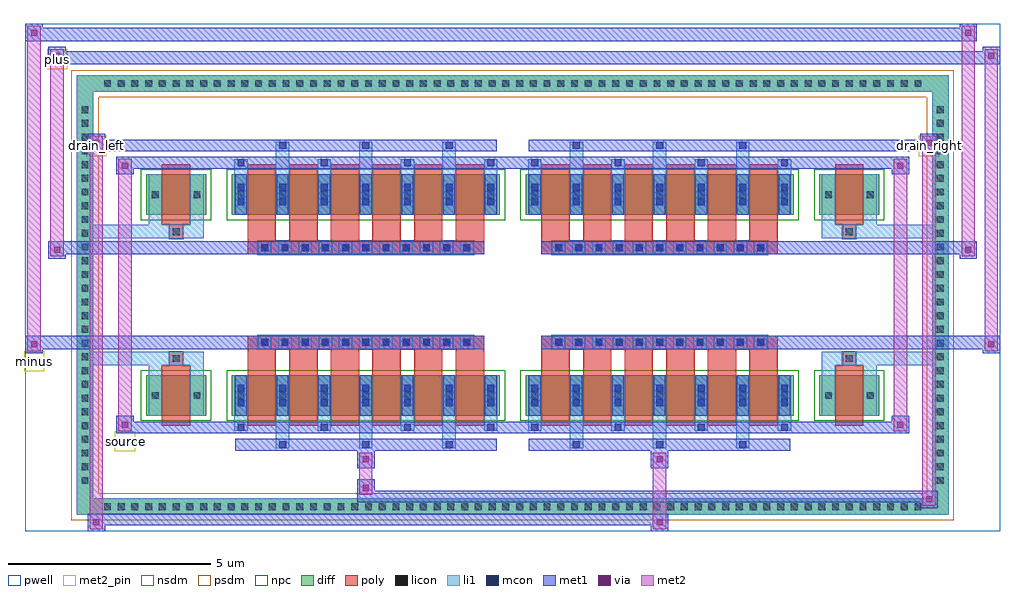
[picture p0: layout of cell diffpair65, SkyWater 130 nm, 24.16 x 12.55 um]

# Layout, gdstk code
import gdstk
lib = gdstk.Library(unit=1e-6, precision=5e-09)
def R(c, l, rs):  # rectangles x0, y0, x1, y1
    for r in rs: c.add(gdstk.rectangle(r[:2], r[2:], *l))
def A(c, l, x, y, w, h, nx, ny, dx, dy):  # array of equal rectangles
    R(c, l, [(x+i*dx, y+j*dy, x+i*dx+w, y+j*dy+h) for i in range(nx) for j in range(ny)])
def P(c, l, *ps):  # polygons
    for p in ps: c.add(gdstk.Polygon(p, *l))
pwell = (64, 44)
diff = (65, 20)
poly = (66, 20)
licon = (66, 44)
li1 = (67, 20)
mcon = (67, 44)
met1 = (68, 20)
via = (68, 44)
met2_pin = (69, 16)
met2 = (69, 20)
nsdm = (93, 44)
psdm = (94, 20)
npc = (95, 20)

diffpair65 = lib.new_cell('diffpair65')
R(diffpair65, pwell, [(-12.06,-5.84,12.06,6.71), (-9.38,-4.03,-0.01,-0.805), (0.01,-4.03,9.38,-0.805), (-9.38,0.805,-0.01,4.03), (0.01,0.805,9.38,4.03)])
A(diffpair65, diff, -10.235, -5.44, 0.41, 0.41, 60, 2, 0.34, 10.47)
A(diffpair65, diff, -10.79, -4.795, 0.41, 0.41, 1, 28, 0, 0.34)
A(diffpair65, diff, 10.38, -4.795, 0.41, 0.41, 1, 28, 0, 0.34)
R(diffpair65, diff, [(-10.235,-5.44,10.235,-5.03), (-10.79,-4.795,-10.38,4.795), (10.38,-4.795,10.79,4.795), (-9.07,-2.985,-7.59,-1.985), (-6.95,-2.985,-0.32,-1.985), (0.32,-2.985,6.95,-1.985), (7.59,-2.985,9.07,-1.985), (-9.07,1.985,-7.59,2.985), (-6.95,1.985,-0.32,2.985), (0.32,1.985,6.95,2.985), (7.59,1.985,9.07,2.985), (-10.235,5.03,10.235,5.44)])
P(diffpair65, diff, [(10.79,5.44),(-10.79,5.44),(-10.79,-5.03),(-10.38,-5.03),(-10.38,5.03),(10.38,5.03),(10.38,-5.03),(-10.38,-5.03),(-10.79,-5.03),(-10.79,-5.44),(10.79,-5.44)])
A(diffpair65, poly, -6.56, -3.235, 0.7, 1.5, 6, 2, 1.03, 4.97)
A(diffpair65, poly, 0.71, -3.235, 0.7, 1.5, 6, 2, 1.03, 4.97)
A(diffpair65, poly, -6.56, -1.735, 0.7, 0.4, 6, 2, 1.03, 3.07)
A(diffpair65, poly, 0.71, -1.735, 0.7, 0.4, 6, 2, 1.03, 3.07)
A(diffpair65, poly, -6.3, -1.335, 0.33, 0.33, 11, 2, 0.5, 2.34)
A(diffpair65, poly, 0.97, -1.335, 0.33, 0.33, 11, 2, 0.5, 2.34)
R(diffpair65, poly, [(-8.68,-3.235,-7.98,-1.735), (7.98,-3.235,8.68,-1.735), (-8.495,-1.735,-8.165,-1.405), (-8.495,-1.735,-8.165,-1.405), (8.165,-1.735,8.495,-1.405), (8.165,-1.735,8.495,-1.405), (-6.56,-1.335,-0.71,-1.005), (0.71,-1.335,6.56,-1.005), (-6.56,1.005,-0.71,1.335), (0.71,1.005,6.56,1.335), (-8.495,1.405,-8.165,1.735), (-8.495,1.405,-8.165,1.735), (8.165,1.405,8.495,1.735), (8.165,1.405,8.495,1.735), (-8.68,1.735,-7.98,3.235), (7.98,1.735,8.68,3.235)])
A(diffpair65, licon, -10.115, -5.32, 0.17, 0.17, 60, 2, 0.34, 10.47)
A(diffpair65, licon, -10.67, -4.675, 0.17, 0.17, 1, 28, 0, 0.34)
A(diffpair65, licon, 10.5, -4.675, 0.17, 0.17, 1, 28, 0, 0.34)
A(diffpair65, licon, -6.81, -2.57, 0.17, 0.17, 7, 2, 1.03, 4.97)
A(diffpair65, licon, 0.46, -2.57, 0.17, 0.17, 7, 2, 1.03, 4.97)
A(diffpair65, licon, -6.22, -1.255, 0.17, 0.17, 11, 2, 0.5, 2.34)
A(diffpair65, licon, 1.05, -1.255, 0.17, 0.17, 11, 2, 0.5, 2.34)
R(diffpair65, licon, [(-8.93,-2.57,-8.76,-2.4), (-7.9,-2.57,-7.73,-2.4), (7.73,-2.57,7.9,-2.4), (8.76,-2.57,8.93,-2.4), (-8.415,-1.655,-8.245,-1.485), (8.245,-1.655,8.415,-1.485), (-8.415,1.485,-8.245,1.655), (8.245,1.485,8.415,1.655), (-8.93,2.4,-8.76,2.57), (-7.9,2.4,-7.73,2.57), (7.73,2.4,7.9,2.57), (8.76,2.4,8.93,2.57)])
A(diffpair65, li1, -10.195, -5.4, 0.33, 0.33, 60, 2, 0.34, 10.47)
A(diffpair65, li1, -10.75, -4.755, 0.33, 0.33, 1, 28, 0, 0.34)
A(diffpair65, li1, 10.42, -4.755, 0.33, 0.33, 1, 28, 0, 0.34)
A(diffpair65, li1, -5.86, -3.79, 0.33, 0.805, 3, 2, 2.06, 6.775)
A(diffpair65, li1, -5.78, -3.79, 0.17, 0.17, 3, 2, 2.06, 7.41)
A(diffpair65, li1, 1.41, -3.79, 0.33, 0.805, 3, 2, 2.06, 6.775)
A(diffpair65, li1, 1.49, -3.79, 0.17, 0.17, 3, 2, 2.06, 7.41)
A(diffpair65, li1, -6.89, -3.36, 0.33, 0.375, 4, 2, 2.06, 6.345)
A(diffpair65, li1, -6.81, -3.36, 0.17, 0.17, 4, 2, 2.06, 6.55)
A(diffpair65, li1, 0.38, -3.36, 0.33, 0.375, 4, 2, 2.06, 6.345)
A(diffpair65, li1, 0.46, -3.36, 0.17, 0.17, 4, 2, 2.06, 6.55)
A(diffpair65, li1, -6.89, -2.985, 0.33, 1, 7, 2, 1.03, 4.97)
A(diffpair65, li1, 0.38, -2.985, 0.33, 1, 7, 2, 1.03, 4.97)
A(diffpair65, li1, -6.81, -2.75, 0.17, 0.17, 7, 2, 1.03, 0.36)
A(diffpair65, li1, -6.81, -2.75, 0.17, 0.53, 7, 2, 1.03, 4.97)
A(diffpair65, li1, 0.46, -2.75, 0.17, 0.17, 7, 2, 1.03, 0.36)
A(diffpair65, li1, 0.46, -2.75, 0.17, 0.53, 7, 2, 1.03, 4.97)
A(diffpair65, li1, -6.89, -2.65, 0.33, 0.33, 7, 2, 1.03, 4.97)
A(diffpair65, li1, 0.38, -2.65, 0.33, 0.33, 7, 2, 1.03, 4.97)
A(diffpair65, li1, -6.3, -1.335, 0.33, 0.33, 11, 2, 0.5, 2.34)
A(diffpair65, li1, 0.97, -1.335, 0.33, 0.33, 11, 2, 0.5, 2.34)
A(diffpair65, li1, -6.81, 2.22, 0.17, 0.17, 7, 2, 1.03, 0.36)
A(diffpair65, li1, 0.46, 2.22, 0.17, 0.17, 7, 2, 1.03, 0.36)
R(diffpair65, li1, [(-10.79,-5.44,-10.38,-5.03), (-10.79,-5.44,-10.38,-5.03), (-10.38,-5.44,10.38,-5.03), (10.38,-5.44,10.79,-5.03), (10.38,-5.44,10.79,-5.03), (-10.79,-5.03,-10.38,5.03), (10.38,-5.03,10.79,5.03), (-9.01,-2.985,-8.68,-1.985), (-7.98,-2.985,-7.65,-1.985), (7.65,-2.985,7.98,-1.985), (8.68,-2.985,9.01,-1.985), (-9.01,-2.65,-8.68,-2.32), (-7.98,-2.65,-7.65,-2.32), (7.65,-2.65,7.98,-2.32), (8.68,-2.65,9.01,-2.32), (-9.01,-1.985,-8.68,-1.405), (-7.98,-1.985,-7.65,-1.405), (7.65,-1.985,7.98,-1.405), (8.68,-1.985,9.01,-1.405), (-10.79,-1.735,-8.495,-1.405), (-9.01,-1.735,-8.495,-1.405), (-8.495,-1.735,-8.165,-1.405), (-8.165,-1.735,-7.65,-1.405), (7.65,-1.735,8.165,-1.405), (8.165,-1.735,8.495,-1.405), (8.165,-1.735,10.79,-1.405), (8.495,-1.735,9.01,-1.405), (-10.79,1.405,-8.495,1.735), (-9.01,1.405,-8.495,1.735), (-9.01,1.405,-8.68,1.985), (-8.495,1.405,-8.165,1.735), (-8.165,1.405,-7.65,1.735), (-7.98,1.405,-7.65,1.985), (7.65,1.405,8.165,1.735), (7.65,1.405,7.98,1.985), (8.165,1.405,8.495,1.735), (8.165,1.405,10.79,1.735), (8.495,1.405,9.01,1.735), (8.68,1.405,9.01,1.985), (-9.01,1.985,-8.68,2.985), (-7.98,1.985,-7.65,2.985), (7.65,1.985,7.98,2.985), (8.68,1.985,9.01,2.985), (-9.01,2.32,-8.68,2.65), (-7.98,2.32,-7.65,2.65), (7.65,2.32,7.98,2.65), (8.68,2.32,9.01,2.65), (-10.79,5.03,-10.38,5.44), (-10.79,5.03,-10.38,5.44), (-10.38,5.03,10.38,5.44), (10.38,5.03,10.79,5.44), (10.38,5.03,10.79,5.44)])
A(diffpair65, mcon, -5.78, -3.79, 0.17, 0.17, 3, 2, 2.06, 7.41)
A(diffpair65, mcon, 1.49, -3.79, 0.17, 0.17, 3, 2, 2.06, 7.41)
A(diffpair65, mcon, -6.81, -3.36, 0.17, 0.17, 4, 2, 2.06, 6.55)
A(diffpair65, mcon, 0.46, -3.36, 0.17, 0.17, 4, 2, 2.06, 6.55)
A(diffpair65, mcon, -6.81, -2.75, 0.17, 0.17, 7, 2, 1.03, 0.36)
A(diffpair65, mcon, 0.46, -2.75, 0.17, 0.17, 7, 2, 1.03, 0.36)
A(diffpair65, mcon, -6.22, -1.255, 0.17, 0.17, 11, 2, 0.5, 2.34)
A(diffpair65, mcon, 1.05, -1.255, 0.17, 0.17, 11, 2, 0.5, 2.34)
A(diffpair65, mcon, -6.81, 2.22, 0.17, 0.17, 7, 2, 1.03, 0.36)
A(diffpair65, mcon, 0.46, 2.22, 0.17, 0.17, 7, 2, 1.03, 0.36)
A(diffpair65, met1, -5.84, -3.85, 0.29, 0.29, 3, 2, 2.06, 7.41)
A(diffpair65, met1, 1.43, -3.85, 0.29, 0.29, 3, 2, 2.06, 7.41)
A(diffpair65, met1, -6.87, -3.42, 0.29, 0.29, 4, 2, 2.06, 6.55)
A(diffpair65, met1, 0.4, -3.42, 0.29, 0.29, 4, 2, 2.06, 6.55)
A(diffpair65, met1, -6.87, -2.985, 0.29, 1, 7, 2, 1.03, 4.97)
A(diffpair65, met1, 0.4, -2.985, 0.29, 1, 7, 2, 1.03, 4.97)
A(diffpair65, met1, -6.87, -2.81, 0.29, 0.29, 7, 2, 1.03, 0.36)
A(diffpair65, met1, 0.4, -2.81, 0.29, 0.29, 7, 2, 1.03, 0.36)
A(diffpair65, met1, -6.28, -1.315, 0.29, 0.29, 11, 2, 0.5, 2.34)
A(diffpair65, met1, 0.99, -1.315, 0.29, 0.29, 11, 2, 0.5, 2.34)
A(diffpair65, met1, -6.87, 2.16, 0.29, 0.29, 7, 2, 1.03, 0.36)
A(diffpair65, met1, 0.4, 2.16, 0.29, 0.29, 7, 2, 1.03, 0.36)
R(diffpair65, met1, [(-10.52,-5.84,-10.09,-5.41), (3.42,-5.84,3.85,-5.41), (-10.52,-5.7,3.85,-5.41), (10.09,-5.27,10.52,-4.84), (-3.85,-5.13,10.52,-4.84), (-3.85,-4.99,-3.42,-4.56), (-3.85,-4.28,-3.42,-3.85), (3.42,-4.28,3.85,-3.85), (-6.87,-3.85,-0.4,-3.56), (0.4,-3.85,6.87,-3.56), (-9.81,-3.42,-9.38,-2.99), (-9.81,-3.42,-6.87,-3.13), (-6.87,-3.42,-0.4,-3.13), (-0.4,-3.42,0.4,-3.13), (0.4,-3.42,6.87,-3.13), (6.87,-3.42,9.81,-3.13), (9.38,-3.42,9.81,-2.99), (-12.06,-1.435,-11.63,-1.005), (11.63,-1.435,12.06,-1.005), (-12.06,-1.335,-0.71,-1.005), (-6.56,-1.335,-0.71,-1.005), (0.71,-1.335,6.56,-1.005), (0.71,-1.335,12.06,-1.005), (-11.49,0.905,-11.06,1.335), (11.06,0.905,11.49,1.335), (-11.49,1.005,-6.56,1.335), (-6.56,1.005,-0.71,1.335), (0.71,1.005,6.56,1.335), (6.56,1.005,11.49,1.335), (-9.81,2.99,-9.38,3.42), (9.38,2.99,9.81,3.42), (-9.81,3.13,-6.87,3.42), (-6.87,3.13,-0.4,3.42), (-0.4,3.13,0.4,3.42), (0.4,3.13,6.87,3.42), (6.87,3.13,9.81,3.42), (-10.52,3.56,-10.09,3.99), (-10.52,3.56,-6.87,3.85), (-6.87,3.56,-0.4,3.85), (0.4,3.56,6.87,3.85), (6.87,3.56,10.52,3.85), (10.09,3.56,10.52,3.99), (-11.49,5.71,-11.06,6.14), (-11.49,5.71,-9.38,6.04), (-9.38,5.71,9.38,6.04), (9.38,5.71,12.06,6.04), (11.63,5.71,12.06,6.14), (-12.06,6.28,-11.63,6.71), (-12.06,6.28,-9.38,6.61), (-9.38,6.28,9.38,6.61), (9.38,6.28,11.49,6.61), (11.06,6.28,11.49,6.71)])
R(diffpair65, via, [(-10.38,-5.7,-10.23,-5.55), (3.56,-5.7,3.71,-5.55), (10.23,-5.13,10.38,-4.98), (-3.71,-4.85,-3.56,-4.7), (-3.71,-4.14,-3.56,-3.99), (3.56,-4.14,3.71,-3.99), (-9.67,-3.28,-9.52,-3.13), (9.52,-3.28,9.67,-3.13), (-11.92,-1.295,-11.77,-1.145), (11.77,-1.295,11.92,-1.145), (-11.35,1.045,-11.2,1.195), (11.2,1.045,11.35,1.195), (-9.67,3.13,-9.52,3.28), (9.52,3.13,9.67,3.28), (-10.38,3.7,-10.23,3.85), (10.23,3.7,10.38,3.85), (-11.35,5.85,-11.2,6), (11.77,5.85,11.92,6), (-11.92,6.42,-11.77,6.57), (11.2,6.42,11.35,6.57)])
R(diffpair65, met2_pin, [(-9.845,-3.87,-9.345,-3.37), (-12.095,-1.885,-11.595,-1.385), (-10.555,3.44,-10.055,3.94), (10.055,3.44,10.555,3.94), (-11.525,5.59,-11.025,6.09)])
R(diffpair65, met2, [(-10.47,-5.79,-10.14,-5.46), (-10.47,-5.79,-10.14,3.94), (3.47,-5.79,3.8,-5.46), (3.47,-5.46,3.8,-4.23), (10.14,-5.22,10.47,-4.89), (10.14,-5.22,10.47,3.94), (-3.8,-4.94,-3.47,-4.61), (-3.8,-4.61,-3.47,-4.23), (-3.8,-4.23,-3.47,-3.9), (3.47,-4.23,3.8,-3.9), (-9.76,-3.37,-9.43,-3.04), (-9.76,-3.37,-9.43,3.37), (9.43,-3.37,9.76,-3.04), (9.43,-3.37,9.76,3.37), (-12.01,-1.385,-11.68,-1.055), (-12.01,-1.385,-11.68,6.66), (11.68,-1.385,12.01,-1.055), (11.68,-1.385,12.01,6.09), (-11.44,0.955,-11.11,1.285), (-11.44,0.955,-11.11,6.09), (11.11,0.955,11.44,1.285), (11.11,0.955,11.44,6.66), (-9.76,3.04,-9.43,3.37), (9.43,3.04,9.76,3.37), (-10.47,3.61,-10.14,3.94), (10.14,3.61,10.47,3.94), (-11.44,5.76,-11.11,6.09), (11.68,5.76,12.01,6.09), (-12.01,6.33,-11.68,6.66), (11.11,6.33,11.44,6.66)])
P(diffpair65, met2, [(12.01,-1.385),(12.01,-1.385),(12.01,-1.055),(12.01,-1.055)],
  [(12.01,5.76),(12.01,5.76),(12.01,6.09),(12.01,6.09)],
  [(-11.68,-1.385),(-11.68,-1.385),(-11.68,-1.055),(-11.68,-1.055)],
  [(-11.68,6.33),(-11.68,6.33),(-11.68,6.66),(-11.68,6.66)],
  [(11.44,0.955),(11.44,0.955),(11.44,1.285),(11.44,1.285)],
  [(11.44,6.33),(11.44,6.33),(11.44,6.66),(11.44,6.66)],
  [(-11.11,0.955),(-11.11,0.955),(-11.11,1.285),(-11.11,1.285)],
  [(-11.11,5.76),(-11.11,5.76),(-11.11,6.09),(-11.11,6.09)],
  [(-10.14,-5.79),(-10.14,-5.79),(-10.14,-5.46),(-10.14,-5.46)],
  [(-10.14,3.61),(-10.14,3.61),(-10.14,3.94),(-10.14,3.94)],
  [(10.47,-5.22),(10.47,-5.22),(10.47,-4.89),(10.47,-4.89)],
  [(10.47,3.61),(10.47,3.61),(10.47,3.94),(10.47,3.94)],
  [(-9.43,-3.37),(-9.43,-3.37),(-9.43,-3.04),(-9.43,-3.04)],
  [(-9.43,3.04),(-9.43,3.04),(-9.43,3.37),(-9.43,3.37)],
  [(9.76,-3.37),(9.76,-3.37),(9.76,-3.04),(9.76,-3.04)],
  [(9.76,3.04),(9.76,3.04),(9.76,3.37),(9.76,3.37)])
R(diffpair65, nsdm, [(-9.2,-3.115,-7.46,-1.855), (-7.08,-3.115,-0.19,-1.855), (0.19,-3.115,7.08,-1.855), (7.46,-3.115,9.2,-1.855), (-9.2,1.855,-7.46,3.115), (-7.08,1.855,-0.19,3.115), (0.19,1.855,7.08,3.115), (7.46,1.855,9.2,3.115)])
P(diffpair65, psdm, [(10.92,5.57),(-10.92,5.57),(-10.92,-4.9),(-10.25,-4.9),(-10.25,4.9),(10.25,4.9),(10.25,-4.9),(-10.25,-4.9),(-10.92,-4.9),(-10.92,-5.57),(10.92,-5.57)])
A(diffpair65, npc, -6.32, -1.355, 0.37, 0.37, 11, 2, 0.5, 2.34)
A(diffpair65, npc, 0.95, -1.355, 0.37, 0.37, 11, 2, 0.5, 2.34)
R(diffpair65, npc, [(-8.515,-1.755,-8.145,-1.385), (8.145,-1.755,8.515,-1.385), (-6.32,-1.355,-5.45,-0.985), (-6.32,-1.355,-5.45,-0.985), (-5.82,-1.355,-4.95,-0.985), (-5.82,-1.355,-4.95,-0.985), (-5.32,-1.355,-4.45,-0.985), (-5.32,-1.355,-4.45,-0.985), (-4.82,-1.355,-3.95,-0.985), (-4.82,-1.355,-3.95,-0.985), (-4.32,-1.355,-3.45,-0.985), (-4.32,-1.355,-3.45,-0.985), (-3.82,-1.355,-2.95,-0.985), (-3.82,-1.355,-2.95,-0.985), (-3.32,-1.355,-2.45,-0.985), (-3.32,-1.355,-2.45,-0.985), (-2.82,-1.355,-1.95,-0.985), (-2.82,-1.355,-1.95,-0.985), (-2.32,-1.355,-1.45,-0.985), (-2.32,-1.355,-1.45,-0.985), (-1.82,-1.355,-0.95,-0.985), (-1.82,-1.355,-0.95,-0.985), (0.95,-1.355,1.82,-0.985), (0.95,-1.355,1.82,-0.985), (1.45,-1.355,2.32,-0.985), (1.45,-1.355,2.32,-0.985), (1.95,-1.355,2.82,-0.985), (1.95,-1.355,2.82,-0.985), (2.45,-1.355,3.32,-0.985), (2.45,-1.355,3.32,-0.985), (2.95,-1.355,3.82,-0.985), (2.95,-1.355,3.82,-0.985), (3.45,-1.355,4.32,-0.985), (3.45,-1.355,4.32,-0.985), (3.95,-1.355,4.82,-0.985), (3.95,-1.355,4.82,-0.985), (4.45,-1.355,5.32,-0.985), (4.45,-1.355,5.32,-0.985), (4.95,-1.355,5.82,-0.985), (4.95,-1.355,5.82,-0.985), (5.45,-1.355,6.32,-0.985), (5.45,-1.355,6.32,-0.985), (-6.32,0.985,-5.45,1.355), (-6.32,0.985,-5.45,1.355), (-5.82,0.985,-4.95,1.355), (-5.82,0.985,-4.95,1.355), (-5.32,0.985,-4.45,1.355), (-5.32,0.985,-4.45,1.355), (-4.82,0.985,-3.95,1.355), (-4.82,0.985,-3.95,1.355), (-4.32,0.985,-3.45,1.355), (-4.32,0.985,-3.45,1.355), (-3.82,0.985,-2.95,1.355), (-3.82,0.985,-2.95,1.355), (-3.32,0.985,-2.45,1.355), (-3.32,0.985,-2.45,1.355), (-2.82,0.985,-1.95,1.355), (-2.82,0.985,-1.95,1.355), (-2.32,0.985,-1.45,1.355), (-2.32,0.985,-1.45,1.355), (-1.82,0.985,-0.95,1.355), (-1.82,0.985,-0.95,1.355), (0.95,0.985,1.82,1.355), (0.95,0.985,1.82,1.355), (1.45,0.985,2.32,1.355), (1.45,0.985,2.32,1.355), (1.95,0.985,2.82,1.355), (1.95,0.985,2.82,1.355), (2.45,0.985,3.32,1.355), (2.45,0.985,3.32,1.355), (2.95,0.985,3.82,1.355), (2.95,0.985,3.82,1.355), (3.45,0.985,4.32,1.355), (3.45,0.985,4.32,1.355), (3.95,0.985,4.82,1.355), (3.95,0.985,4.82,1.355), (4.45,0.985,5.32,1.355), (4.45,0.985,5.32,1.355), (4.95,0.985,5.82,1.355), (4.95,0.985,5.82,1.355), (5.45,0.985,6.32,1.355), (5.45,0.985,6.32,1.355), (-8.515,1.385,-8.145,1.755), (8.145,1.385,8.515,1.755)])
diffpair65.add(gdstk.Label('minus', (-11.845,-1.635), layer=69, texttype=5))
diffpair65.add(gdstk.Label('drain_right', (10.305,3.69), layer=69, texttype=5))
diffpair65.add(gdstk.Label('drain_left', (-10.305,3.69), layer=69, texttype=5))
diffpair65.add(gdstk.Label('source', (-9.595,-3.62), layer=69, texttype=5))
diffpair65.add(gdstk.Label('plus', (-11.275,5.84), layer=69, texttype=5))

lib.write_gds('diffpair65.gds')
